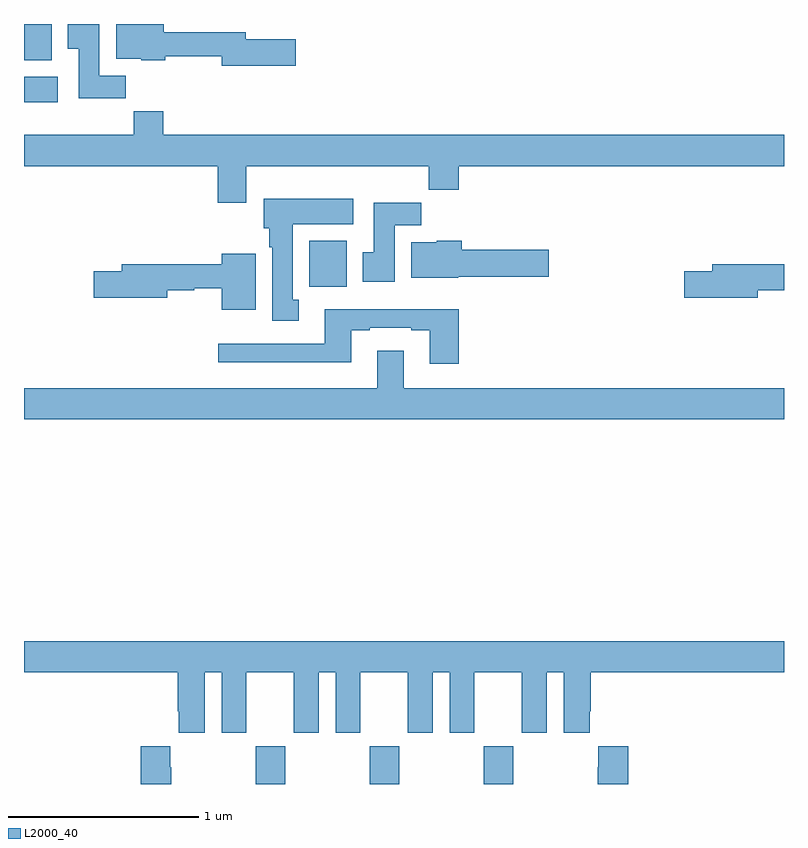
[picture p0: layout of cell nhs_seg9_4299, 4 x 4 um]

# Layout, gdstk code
import gdstk
lib = gdstk.Library(unit=1e-6, precision=1e-09)
def R(c, l, rs):  # rectangles x0, y0, x1, y1
    for r in rs: c.add(gdstk.rectangle(r[:2], r[2:], *l))
def A(c, l, x, y, w, h, nx, ny, dx, dy):  # array of equal rectangles
    R(c, l, [(x+i*dx, y+j*dy, x+i*dx+w, y+j*dy+h) for i in range(nx) for j in range(ny)])
def P(c, l, *ps):  # polygons
    for p in ps: c.add(gdstk.Polygon(p, *l))
L2000_40 = (2000, 40)

nhs_seg9_4299 = lib.new_cell('nhs_seg9_4299')
A(nhs_seg9_4299, L2000_40, 358.219, 1194.5, 0.155, 0.2, 3, 1, 0.6, 0)
R(nhs_seg9_4299, L2000_40, [(358.502,1197.116,358.699,1197.358), (357,1198.088,357.178,1198.222), (357,1198.31,357.145,1198.5)])
P(nhs_seg9_4299, L2000_40, [(357.536,1198.228),(357.397,1198.228),(357.397,1198.5),(357.23,1198.5),(357.23,1198.369),(357.287,1198.369),(357.287,1198.11),(357.536,1198.11)],
  [(358.429,1198.421),(358.168,1198.421),(358.168,1198.457),(357.736,1198.457),(357.736,1198.5),(357.485,1198.5),(357.485,1198.316),(357.618,1198.316),(357.618,1198.31),(357.744,1198.31),(357.744,1198.329),(358.04,1198.329),(358.04,1198.279),(358.429,1198.279)],
  [(358.171,1197.752),(359.131,1197.752),(359.131,1197.628),(359.288,1197.628),(359.288,1197.752),(361,1197.752),(361,1197.916),(357.734,1197.916),(357.734,1198.04),(357.577,1198.04),(357.577,1197.916),(357,1197.916),(357,1197.752),(358.019,1197.752),(358.019,1197.558),(358.171,1197.558)],
  [(358.447,1197.05),(358.414,1197.05),(358.414,1197.446),(358.732,1197.446),(358.732,1197.58),(358.262,1197.58),(358.262,1197.426),(358.292,1197.426),(358.292,1197.326),(358.307,1197.326),(358.307,1196.937),(358.447,1196.937)],
  [(358.951,1197.44),(359.09,1197.44),(359.09,1197.559),(358.841,1197.559),(358.841,1197.3),(358.784,1197.3),(358.784,1197.144),(358.951,1197.144)],
  [(359.286,1197.17),(359.761,1197.17),(359.761,1197.312),(359.303,1197.312),(359.303,1197.358),(359.172,1197.358),(359.172,1197.352),(359.039,1197.352),(359.039,1197.164),(359.286,1197.164)],
  [(358.219,1197.292),(358.04,1197.292),(358.04,1197.236),(357.515,1197.236),(357.515,1197.2),(357.366,1197.2),(357.366,1197.058),(357.754,1197.058),(357.754,1197.1),(357.897,1197.1),(357.897,1197.108),(358.04,1197.108),(358.04,1196.996),(358.219,1196.996)],
  [(360.862,1197.1),(361,1197.1),(361,1197.236),(360.623,1197.236),(360.623,1197.2),(360.474,1197.2),(360.474,1197.058),(360.862,1197.058)],
  [(359.288,1196.998),(358.583,1196.998),(358.583,1196.817),(358.023,1196.817),(358.023,1196.72),(358.723,1196.72),(358.723,1196.889),(358.819,1196.889),(358.819,1196.901),(359.039,1196.901),(359.039,1196.889),(359.135,1196.889),(359.135,1196.712),(359.288,1196.712)],
  [(361,1196.584),(358.999,1196.584),(358.999,1196.779),(358.859,1196.779),(358.859,1196.584),(357,1196.584),(357,1196.42),(361,1196.42)],
  [(357,1195.088),(357.809,1195.088),(357.809,1194.883),(357.815,1194.883),(357.815,1194.771),(357.952,1194.771),(357.952,1195.088),(358.04,1195.088),(358.04,1194.771),(358.171,1194.771),(358.171,1195.088),(358.421,1195.088),(358.421,1194.771),(358.552,1194.771),(358.552,1195.088),(358.64,1195.088),(358.64,1194.771),(358.771,1194.771),(358.771,1195.088),(359.021,1195.088),(359.021,1194.771),(359.152,1194.771),(359.152,1195.088),(359.24,1195.088),(359.24,1194.771),(359.371,1194.771),(359.371,1195.088),(359.621,1195.088),(359.621,1194.771),(359.752,1194.771),(359.752,1195.088),(359.84,1195.088),(359.84,1194.771),(359.977,1194.771),(359.977,1194.883),(359.984,1194.883),(359.984,1195.088),(361,1195.088),(361,1195.252),(357,1195.252)],
  [(357.774,1194.587),(357.769,1194.587),(357.769,1194.7),(357.614,1194.7),(357.614,1194.5),(357.774,1194.5)],
  [(360.179,1194.7),(360.023,1194.7),(360.023,1194.587),(360.019,1194.587),(360.019,1194.5),(360.179,1194.5)])

lib.write_gds('nhs_seg9_4299.gds')
